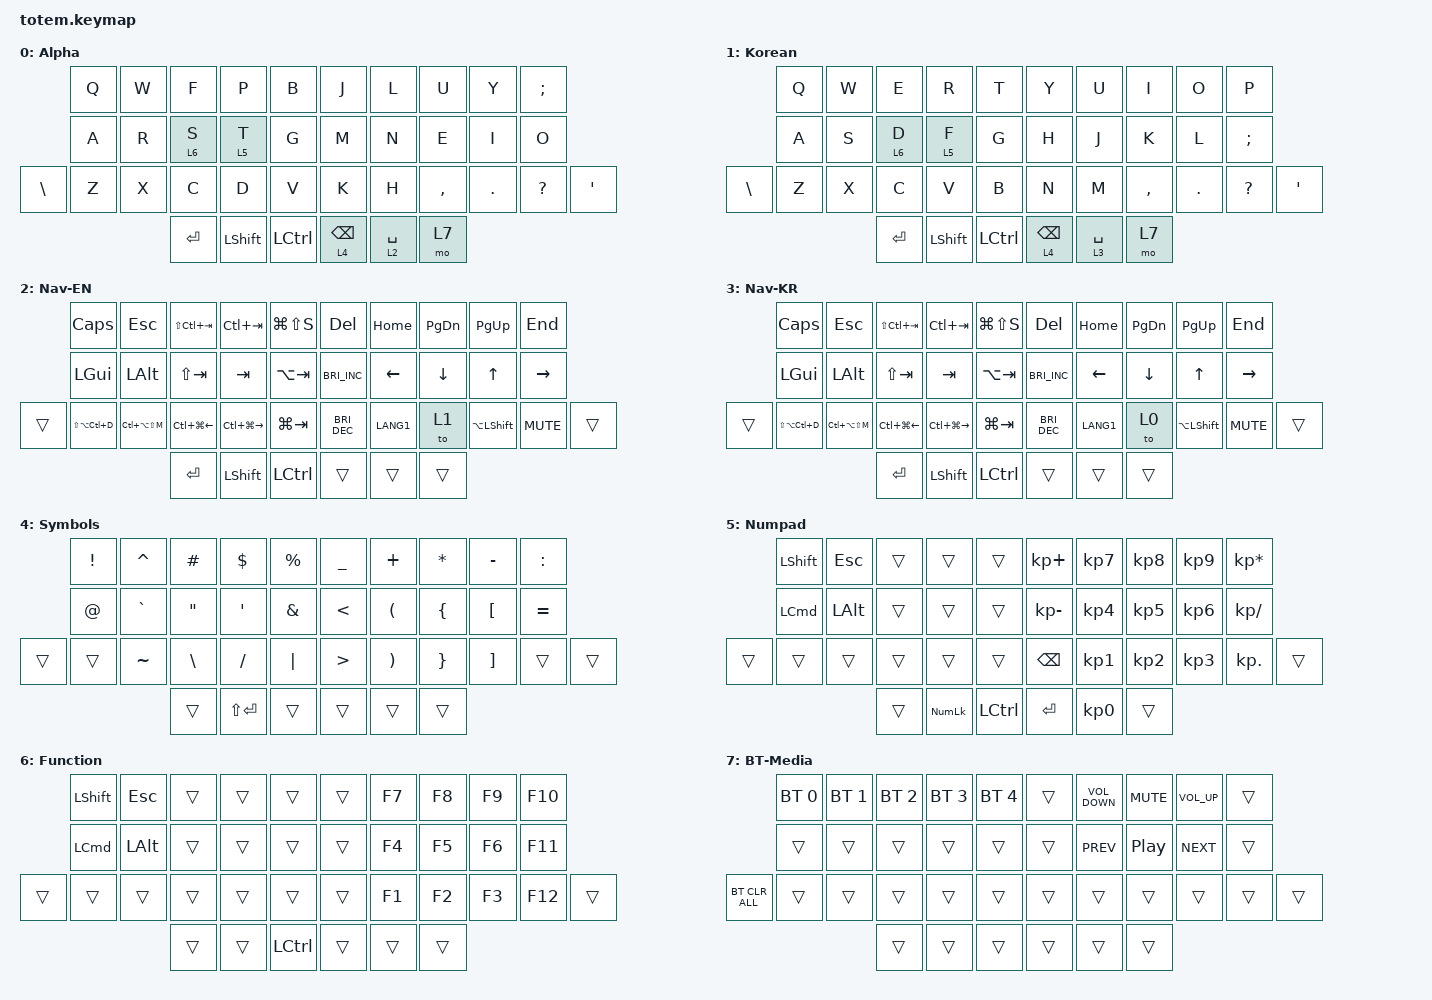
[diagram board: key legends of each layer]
//
//                                                        ▀▀▀▀▀     ▀▀▀▀▀          ▀▀█▀▀
//                                                        ▄▀▀▀▄  ▄  ▄▀▀▀▄  ▄  ▄▀▀▀▄  █  ▄▀▀▀▄
//                                                        █   █  █  █   █  █  █   █  █  █   █
//                                                         ▀▀▀   █   ▀▀▀   █   ▀▀▀   ▀   ▀▀▀
//                                                               █      ▄▄▄█▄▄▄    █   █  
//                                                               ▀      █  █  █     █▄█
//                                                             ▀▀▀▀▀    █  █  █      ▀
//                                                                      ▀  ▀  ▀
//
// ▄▄▄▄▄▄▄▄▄▄▄▄▄▄▄▄▄▄▄▄▄▄▄▄▄▄▄▄▄▄▄▄▄▄▄▄▄▄▄▄▄▄▄▄▄▄▄▄▄▄▄▄▄▄▄▄▄▄▄▄▄▄▄▄▄▄▄▄▄▄▄▄▄▄▄▄▄▄▄▄▄▄▄▄▄▄▄▄▄▄▄▄▄▄▄▄▄▄▄▄▄▄▄▄▄▄▄▄▄▄▄▄▄▄▄▄▄▄▄▄▄▄▄▄▄▄▄▄▄▄▄▄▄▄▄▄▄▄▄▄▄▄▄▄▄▄▄▄▄

#include <behaviors.dtsi>
#include <dt-bindings/zmk/bt.h>
#include <dt-bindings/zmk/keys.h>

#define BASE 0
#define NAV  1
#define SYM  2
#define ADJ  3
#define TVP1 4
#define TVP2 5

&mt {
    quick-tap-ms = <100>;
    global-quick-tap;
    flavor = "tap-preferred";
    tapping-term-ms = <170>;
};

/ {
    combos {
        compatible = "zmk,combos";

        combo_esc {
            timeout-ms = <50>;
            key-positions = <0 1>;
            bindings = <&kp ESC>;
        };

        combo_tvp {
            timeout-ms = <100>;
            key-positions = <11 12 13>;
            bindings = <&tog 0>;
        };
    };

    macros {
        gif: gif {
            label = "giphy";
            compatible = "zmk,behavior-macro";
            #binding-cells = <0>;
            bindings =
                <&macro_press>,
                <&kp LSHFT>,
                <&macro_tap>,
                <&kp N2>,
                <&macro_release>,
                <&kp LSHFT>,
                <&macro_tap>,
                <&kp G &kp I &kp F>;
        };
    };

    keymap {
        compatible = "zmk,keymap";

        // ▄▄▄▄▄▄▄▄▄▄▄▄▄▄▄▄▄▄▄▄▄▄▄▄▄▄▄▄▄▄▄▄▄▄▄▄▄▄▄▄▄▄▄▄▄▄▄▄▄▄▄▄▄▄▄▄▄▄▄▄▄▄▄▄▄▄▄▄▄▄▄▄▄▄▄▄▄▄▄▄▄▄▄▄▄▄▄▄▄▄▄▄▄▄▄▄▄▄▄▄▄▄▄▄▄▄▄▄▄▄▄▄▄▄▄▄▄▄▄▄▄▄▄▄▄▄▄▄▄▄▄▄▄▄▄▄▄▄▄▄▄▄▄▄▄▄▄▄▄

        Alpha_Layer {
            // ┏━━━━━━━━━━━━━━━━━━━━━━━━━━━━━━━━━━━━━━━┓

            label = "Alpha";

            // ┗━━━━━━━━━━━━━━━━━━━━━━━━━━━━━━━━━━━━━━━┛
            //             ┏━━━━━━━━━━━┳━━━━━━━━━━━┳━━━━━━━━━━━┳━━━━━━━━━━━┳━━━━━━━━━━━┓   ┏━━━━━━━━━━━┳━━━━━━━━━━━┳━━━━━━━━━━━┳━━━━━━━━━━━┳━━━━━━━━━━━┓
            //             ┃     Q     ┃     W     ┃     F     ┃     P     ┃     G     ┃   ┃     J     ┃     L     ┃     U     ┃     Y     ┃     ;     ┃
            //             ┣━━━━━━━━━━━╋━━━━━━━━━━━╋━━━━━━━━━━━╋━━━━━━━━━━━╋━━━━━━━━━━━┫   ┣━━━━━━━━━━━╋━━━━━━━━━━━╋━━━━━━━━━━━╋━━━━━━━━━━━╋━━━━━━━━━━━┫
            //             ┃     A     ┃     R     ┃     S     ┃     T     ┃     D     ┃   ┃     H     ┃     N     ┃     E     ┃     I     ┃     O     ┃
            // ┏━━━━━━━━━━━╋━━━━━━━━━━━╋━━━━━━━━━━━╋━━━━━━━━━━━╋━━━━━━━━━━━╋━━━━━━━━━━━┫   ┣━━━━━━━━━━━╋━━━━━━━━━━━╋━━━━━━━━━━━╋━━━━━━━━━━━╋━━━━━━━━━━━╋━━━━━━━━━━━┓
            // ┃     Q     ┃     Z     ┃     X     ┃     C     ┃     V     ┃     B     ┃   ┃     K     ┃     M     ┃     ,     ┃     .     ┃     /     ┃     \     ┃
            // ┗━━━━━━━━━━━┻━━━━━━━━━━━┻━━━━━━━━━━━╋━━━━━━━━━━━╋━━━━━━━━━━━╋━━━━━━━━━━━┫   ┣━━━━━━━━━━━╋━━━━━━━━━━━╋━━━━━━━━━━━╋━━━━━━━━━━━┻━━━━━━━━━━━┻━━━━━━━━━━━┛
            //                                     ┃    DEL    ┃    TAB    ┃    SPC    ┃   ┃   ENTER   ┃           ┃   BSPC    ┃
            //                                     ┗━━━━━━━━━━━┻━━━━━━━━━━━┻━━━━━━━━━━━┛   ┗━━━━━━━━━━━┻━━━━━━━━━━━┻━━━━━━━━━━━┛

            bindings = <
          &kp Q  &kp W  &kp F      &kp P           &kp B               &kp J            &kp L        &kp U      &kp Y    &kp SEMI
          &kp A  &kp R  &lt 6 S    &lt 5 T         &kp G               &kp M            &kp N        &kp E      &kp I    &kp O
&kp BSLH  &kp Z  &kp X  &kp C      &kp D           &kp V               &kp K            &kp H        &kp COMMA  &kp DOT  &kp QMARK  &kp SQT
                        &kp ENTER  &kp LEFT_SHIFT  &kp LEFT_CONTROL    &lt 4 BACKSPACE  &lt 2 SPACE  &mo 7
            >;
        };

        // ▄▄▄▄▄▄▄▄▄▄▄▄▄▄▄▄▄▄▄▄▄▄▄▄▄▄▄▄▄▄▄▄▄▄▄▄▄▄▄▄▄▄▄▄▄▄▄▄▄▄▄▄▄▄▄▄▄▄▄▄▄▄▄▄▄▄▄▄▄▄▄▄▄▄▄▄▄▄▄▄▄▄▄▄▄▄▄▄▄▄▄▄▄▄▄▄▄▄▄▄▄▄▄▄▄▄▄▄▄▄▄▄▄▄▄▄▄▄▄▄▄▄▄▄▄▄▄▄▄▄▄▄▄▄▄▄▄▄▄▄▄▄▄▄▄▄▄▄▄
        // ▄▄▄▄▄▄▄▄▄▄▄▄▄▄▄▄▄▄▄▄▄▄▄▄▄▄▄▄▄▄▄▄▄▄▄▄▄▄▄▄▄▄▄▄▄▄▄▄▄▄▄▄▄▄▄▄▄▄▄▄▄▄▄▄▄▄▄▄▄▄▄▄▄▄▄▄▄▄▄▄▄▄▄▄▄▄▄▄▄▄▄▄▄▄▄▄▄▄▄▄▄▄▄▄▄▄▄▄▄▄▄▄▄▄▄▄▄▄▄▄▄▄▄▄▄▄▄▄▄▄▄▄▄▄▄▄▄▄▄▄▄▄▄▄▄▄▄▄▄
        // ▄▄▄▄▄▄▄▄▄▄▄▄▄▄▄▄▄▄▄▄▄▄▄▄▄▄▄▄▄▄▄▄▄▄▄▄▄▄▄▄▄▄▄▄▄▄▄▄▄▄▄▄▄▄▄▄▄▄▄▄▄▄▄▄▄▄▄▄▄▄▄▄▄▄▄▄▄▄▄▄▄▄▄▄▄▄▄▄▄▄▄▄▄▄▄▄▄▄▄▄▄▄▄▄▄▄▄▄▄▄▄▄▄▄▄▄▄▄▄▄▄▄▄▄▄▄▄▄▄▄▄▄▄▄▄▄▄▄▄▄▄▄▄▄▄▄▄▄▄
        // ▄▄▄▄▄▄▄▄▄▄▄▄▄▄▄▄▄▄▄▄▄▄▄▄▄▄▄▄▄▄▄▄▄▄▄▄▄▄▄▄▄▄▄▄▄▄▄▄▄▄▄▄▄▄▄▄▄▄▄▄▄▄▄▄▄▄▄▄▄▄▄▄▄▄▄▄▄▄▄▄▄▄▄▄▄▄▄▄▄▄▄▄▄▄▄▄▄▄▄▄▄▄▄▄▄▄▄▄▄▄▄▄▄▄▄▄▄▄▄▄▄▄▄▄▄▄▄▄▄▄▄▄▄▄▄▄▄▄▄▄▄▄▄▄▄▄▄▄▄
        // ▄▄▄▄▄▄▄▄▄▄▄▄▄▄▄▄▄▄▄▄▄▄▄▄▄▄▄▄▄▄▄▄▄▄▄▄▄▄▄▄▄▄▄▄▄▄▄▄▄▄▄▄▄▄▄▄▄▄▄▄▄▄▄▄▄▄▄▄▄▄▄▄▄▄▄▄▄▄▄▄▄▄▄▄▄▄▄▄▄▄▄▄▄▄▄▄▄▄▄▄▄▄▄▄▄▄▄▄▄▄▄▄▄▄▄▄▄▄▄▄▄▄▄▄▄▄▄▄▄▄▄▄▄▄▄▄▄▄▄▄▄▄▄▄▄▄▄▄▄

        Korean_Layer {
            label = "Korean";
            bindings = <
          &kp Q  &kp W  &kp E      &kp R           &kp T               &kp Y            &kp U        &kp I      &kp O    &kp P
          &kp A  &kp S  &lt 6 D    &lt 5 F         &kp G               &kp H            &kp J        &kp K      &kp L    &kp SEMICOLON
&kp BSLH  &kp Z  &kp X  &kp C      &kp V           &kp B               &kp N            &kp M        &kp COMMA  &kp DOT  &kp QMARK      &kp SQT
                        &kp ENTER  &kp LEFT_SHIFT  &kp LEFT_CONTROL    &lt 4 BACKSPACE  &lt 3 SPACE  &mo 7
            >;
        };

        Nav-EN_Layer {
            bindings = <
        &kp CAPSLOCK       &kp ESCAPE         &kp LS(LC(TAB))   &kp LC(TAB)        &kp LG(LS(S))       &kp DELETE            &kp HOME   &kp PAGE_DOWN  &kp PAGE_UP     &kp END
        &kp LEFT_GUI       &kp LALT           &kp LS(TAB)       &kp TAB            &kp LA(TAB)         &kp C_BRIGHTNESS_INC  &kp LEFT   &kp DOWN       &kp UP_ARROW    &kp RIGHT
&trans  &kp LS(LA(LC(D)))  &kp LC(LA(LS(M)))  &kp LC(LG(LEFT))  &kp LC(LG(RIGHT))  &kp LG(TAB)         &kp C_BRIGHTNESS_DEC  &kp LANG1  &to 1          &kp LA(LSHIFT)  &kp C_MUTE  &trans
                                              &kp ENTER         &kp LSHIFT         &kp LEFT_CONTROL    &trans                &trans     &trans
            >;

            label = "Nav-EN";
        };

        Nav-KR_Layer {
            bindings = <
        &kp CAPSLOCK       &kp ESCAPE         &kp LS(LC(TAB))   &kp LC(TAB)        &kp LG(LS(S))       &kp DELETE            &kp HOME   &kp PAGE_DOWN  &kp PAGE_UP     &kp END
        &kp LEFT_GUI       &kp LALT           &kp LS(TAB)       &kp TAB            &kp LA(TAB)         &kp C_BRIGHTNESS_INC  &kp LEFT   &kp DOWN       &kp UP_ARROW    &kp RIGHT
&trans  &kp LS(LA(LC(D)))  &kp LC(LA(LS(M)))  &kp LC(LG(LEFT))  &kp LC(LG(RIGHT))  &kp LG(TAB)         &kp C_BRIGHTNESS_DEC  &kp LANG1  &to 0          &kp LA(LSHIFT)  &kp C_MUTE  &trans
                                              &kp ENTER         &kp LSHIFT         &kp LEFT_CONTROL    &trans                &trans     &trans
            >;

            label = "Nav-KR";
        };

        Symbols_Layer {
            bindings = <
        &kp EXCLAMATION  &kp CARET  &kp HASH           &kp DOLLAR     &kp PERCENT      &kp UNDERSCORE    &kp PLUS               &kp ASTERISK     &kp MINUS          &kp COLON
        &kp AT           &kp GRAVE  &kp DOUBLE_QUOTES  &kp SQT        &kp AMPERSAND    &kp LESS_THAN     &kp LEFT_PARENTHESIS   &kp LEFT_BRACE   &kp LEFT_BRACKET   &kp EQUAL
&trans  &trans           &kp TILDE  &kp BACKSLASH      &kp SLASH      &kp PIPE         &kp GREATER_THAN  &kp RIGHT_PARENTHESIS  &kp RIGHT_BRACE  &kp RIGHT_BRACKET  &trans     &trans
                                    &trans             &kp LS(ENTER)  &trans           &trans            &trans                 &trans
            >;

            label = "Symbols";
        };

        Numpad_Layer {
            bindings = <
        &kp LSHIFT  &kp ESCAPE    &trans  &trans      &trans       &kp KP_PLUS    &kp KP_NUMBER_7  &kp KP_NUMBER_8  &kp KP_NUMBER_9  &kp KP_MULTIPLY
        &kp LCMD    &kp LEFT_ALT  &trans  &trans      &trans       &kp KP_MINUS   &kp KP_NUMBER_4  &kp KP_NUMBER_5  &kp KP_NUMBER_6  &kp KP_SLASH
&trans  &trans      &trans        &trans  &trans      &trans       &kp BACKSPACE  &kp KP_NUMBER_1  &kp KP_NUMBER_2  &kp KP_NUMBER_3  &kp KP_DOT       &trans
                                  &trans  &kp KP_NUM  &kp LCTRL    &kp ENTER      &kp KP_NUMBER_0  &trans
            >;

            label = "Numpad";
        };

        Function_Layer {
            bindings = <
        &kp LSHIFT  &kp ESCAPE    &trans  &trans  &trans       &trans  &kp F7  &kp F8  &kp F9  &kp F10
        &kp LCMD    &kp LEFT_ALT  &trans  &trans  &trans       &trans  &kp F4  &kp F5  &kp F6  &kp F11
&trans  &trans      &trans        &trans  &trans  &trans       &trans  &kp F1  &kp F2  &kp F3  &kp F12  &trans
                                  &trans  &trans  &kp LCTRL    &trans  &trans  &trans
            >;

            label = "Function";
        };

        BT-Media_Layer {
            bindings = <
                &bt BT_SEL 0  &bt BT_SEL 1  &bt BT_SEL 2  &bt BT_SEL 3  &bt BT_SEL 4    &trans  &kp C_VOLUME_DOWN  &kp C_MUTE  &kp C_VOLUME_UP  &trans
                &trans        &trans        &trans        &trans        &trans          &trans  &kp C_PREV         &kp C_PP    &kp C_NEXT       &trans
&bt BT_CLR_ALL  &trans        &trans        &trans        &trans        &trans          &trans  &trans             &trans      &trans           &trans  &trans
                                            &trans        &trans        &trans          &trans  &trans             &trans
            >;

            label = "BT-Media";
        };
    };
};
